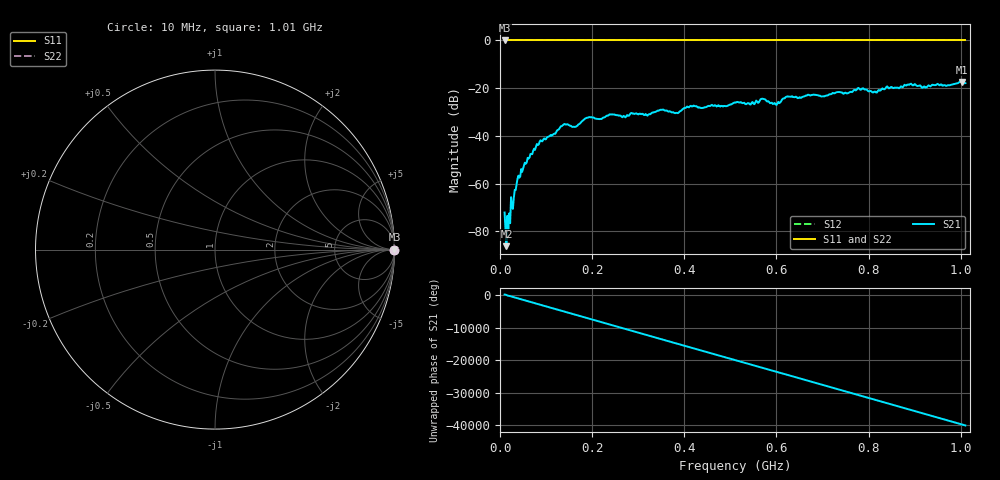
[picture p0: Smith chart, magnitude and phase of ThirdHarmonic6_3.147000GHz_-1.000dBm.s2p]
! 8/17/2025 9:24:46 AM
! C:\ANRITSUVNA\TEMP\TEMP.S2P
! CHANNEL.1
! TR.MEASUREMENT
! RAW.DATA
! RF.CORRECTION.OFF
! AVERAGING.OFF
! IF.BANDWIDTH: 5KHZ
! SWEEPTYPE:  FREQ.SWEEP(Linear)
! Reference Plane Port Info
! PORT:  PORT1  PORT2
! DISTANCE:  0  m  0  m
! TIME:  0  s  0  s
! PHASE.OFFSET:  0  deg.  0  deg.
! LOSS:  0  dB  0  dB
! REF.LOSS:  0  dB  0  dB
! REF.FREQ:  0  Hz  0  Hz
! Power Info
! POWER:  -20  dBm  -20  dBm
! EFF.POWER:  -20  dBm  -20  dBm
! SOURCE.ATTEN:  0  dB  0  dB
! TEST.ATTEN:  0  dB  0  dB
# GHZ S RI R 50.0
! FREQ.GHZ  S11RE  S11IM  S21RE  S21IM  S12RE  S12IM  S22RE  S22IM
!; PortSelection: Port_12
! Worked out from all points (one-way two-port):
!   501 points, 10 MHz to 1.01 GHz, reference 50 ohm
!   highest |S21| = -17.36 dB at 1.002 GHz (marker M1); lowest = -86.2 dB at 14 MHz (marker M2)
!   lowest |S11| = 0.0 dB at 10 MHz (marker M3)
!   |S11| at or under -10 dB: nowhere
!   |S22| runs from 0.0 to 0.0 dB; largest |S21 - S12| = 1.1
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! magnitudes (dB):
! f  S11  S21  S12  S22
! 10 MHz  0.0  -72.1  0.0  0.0
! 14 MHz  0.0  -86.2  0.0  0.0
! 18 MHz  0.0  -79.1  0.0  0.0
! 36 MHz  0.0  -60.4  0.0  0.0
! 42 MHz  0.0  -57.5  0.0  0.0
! 76 MHz  0.0  -45.8  0.0  0.0
! 136 MHz  0.0  -35.6  0.0  0.0
! 162 MHz  0.0  -36.2  0.0  0.0
! 178 MHz  0.0  -33.8  0.0  0.0
! 344 MHz  0.0  -29.4  0.0  0.0
! 384 MHz  0.0  -30.4  0.0  0.0
! 410 MHz  0.0  -28.0  0.0  0.0
! 510 MHz  0.0  -26.0  0.0  0.0
! 570 MHz  0.0  -24.4  0.0  0.0
! 598 MHz  0.0  -26.7  0.0  0.0
! 624 MHz  0.0  -23.4  0.0  0.0
! 678 MHz  0.0  -22.8  0.0  0.0
! 780 MHz  0.0  -20.3  0.0  0.0
! 814 MHz  0.0  -21.4  0.0  0.0
! 844 MHz  0.0  -20.1  0.0  0.0
! 1.002 GHz  0.0  -17.4  0.0  0.0
! 1.01 GHz  0.0  -17.9  0.0  0.0
